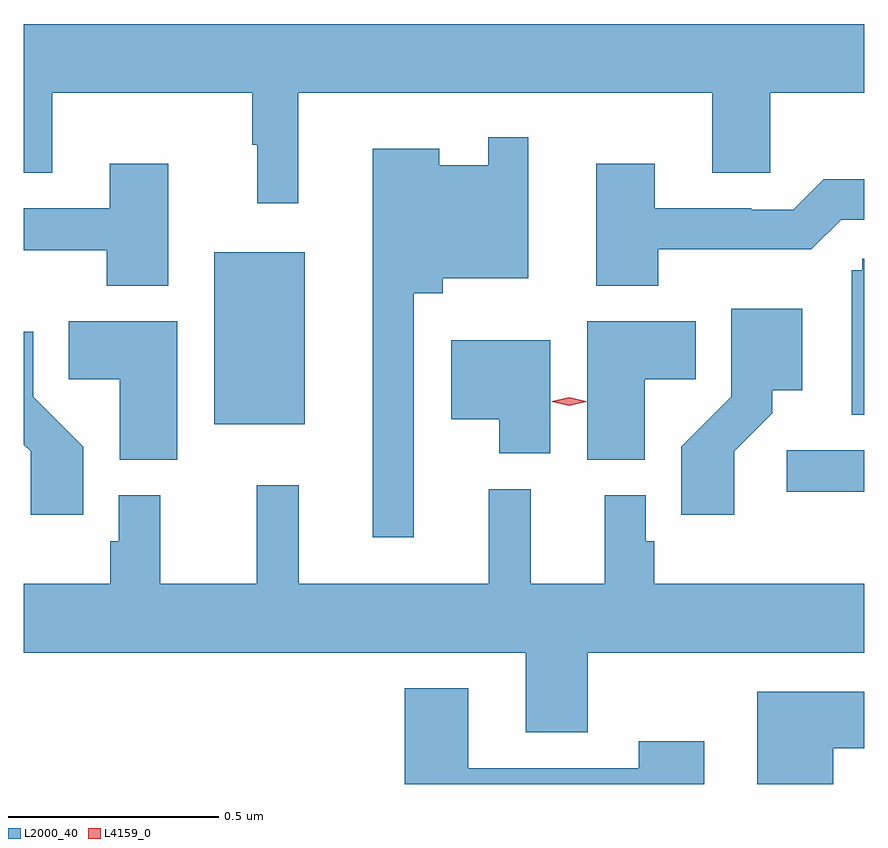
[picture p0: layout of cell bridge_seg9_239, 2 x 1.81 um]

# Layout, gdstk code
import gdstk
lib = gdstk.Library(unit=1e-6, precision=1e-09)
def R(c, l, rs):  # rectangles x0, y0, x1, y1
    for r in rs: c.add(gdstk.rectangle(r[:2], r[2:], *l))
def P(c, l, *ps):  # polygons
    for p in ps: c.add(gdstk.Polygon(p, *l))
L2000_40 = (2000, 40)
L4159_0 = (4159, 0)

bridge_seg9_239 = lib.new_cell('bridge_seg9_239')
R(bridge_seg9_239, L2000_40, [(265.287,1195.471,265.471,1195.569), (263.924,1195.631,264.139,1196.041)])
P(bridge_seg9_239, L2000_40, [(264.124,1196.42),(265.109,1196.42),(265.109,1196.23),(265.248,1196.23),(265.248,1196.42),(265.471,1196.42),(265.471,1196.584),(263.471,1196.584),(263.471,1196.23),(263.539,1196.23),(263.539,1196.42),(264.015,1196.42),(264.015,1196.297),(264.026,1196.297),(264.026,1196.157),(264.124,1196.157)],
  [(264.399,1195.943),(264.468,1195.943),(264.468,1195.979),(264.672,1195.979),(264.672,1196.314),(264.576,1196.314),(264.576,1196.248),(264.46,1196.248),(264.46,1196.287),(264.302,1196.287),(264.302,1195.362),(264.399,1195.362)],
  [(263.815,1196.251),(263.675,1196.251),(263.675,1196.145),(263.471,1196.145),(263.471,1196.046),(263.668,1196.046),(263.668,1195.961),(263.815,1195.961)],
  [(264.981,1196.048),(265.345,1196.048),(265.416,1196.118),(265.471,1196.118),(265.471,1196.215),(265.375,1196.215),(265.302,1196.142),(265.202,1196.142),(265.202,1196.145),(264.973,1196.145),(264.973,1196.251),(264.833,1196.251),(264.833,1195.961),(264.981,1195.961)],
  [(265.471,1196.025),(265.467,1196.025),(265.467,1195.998),(265.442,1195.998),(265.442,1195.654),(265.471,1195.654)],
  [(265.162,1195.567),(265.252,1195.657),(265.252,1195.712),(265.324,1195.712),(265.324,1195.906),(265.155,1195.906),(265.155,1195.697),(265.036,1195.578),(265.036,1195.416),(265.162,1195.416)],
  [(264.949,1195.738),(265.07,1195.738),(265.07,1195.876),(264.812,1195.876),(264.812,1195.547),(264.949,1195.547)],
  [(263.836,1195.876),(263.578,1195.876),(263.578,1195.738),(263.699,1195.738),(263.699,1195.547),(263.836,1195.547)],
  [(263.612,1195.578),(263.493,1195.697),(263.493,1195.852),(263.471,1195.852),(263.471,1195.583),(263.487,1195.567),(263.487,1195.416),(263.612,1195.416)],
  [(264.724,1195.831),(264.488,1195.831),(264.488,1195.643),(264.602,1195.643),(264.602,1195.562),(264.724,1195.562)],
  [(264.813,1195.088),(265.471,1195.088),(265.471,1195.252),(264.971,1195.252),(264.971,1195.353),(264.951,1195.353),(264.951,1195.462),(264.854,1195.462),(264.854,1195.252),(264.677,1195.252),(264.677,1195.477),(264.578,1195.477),(264.578,1195.252),(264.125,1195.252),(264.125,1195.486),(264.025,1195.486),(264.025,1195.252),(263.796,1195.252),(263.796,1195.462),(263.697,1195.462),(263.697,1195.353),(263.677,1195.353),(263.677,1195.252),(263.471,1195.252),(263.471,1195.088),(264.665,1195.088),(264.665,1194.898),(264.813,1194.898)],
  [(265.09,1194.877),(264.934,1194.877),(264.934,1194.813),(264.529,1194.813),(264.529,1195.003),(264.377,1195.003),(264.377,1194.775),(265.09,1194.775)],
  [(265.397,1194.86),(265.471,1194.86),(265.471,1194.994),(265.217,1194.994),(265.217,1194.775),(265.397,1194.775)])
P(bridge_seg9_239, L4159_0, [(264.769,1195.675),(264.728,1195.685),(264.728,1195.685),(264.728,1195.686),(264.769,1195.695),(264.809,1195.686),(264.809,1195.685),(264.809,1195.685)])

lib.write_gds('bridge_seg9_239.gds')
